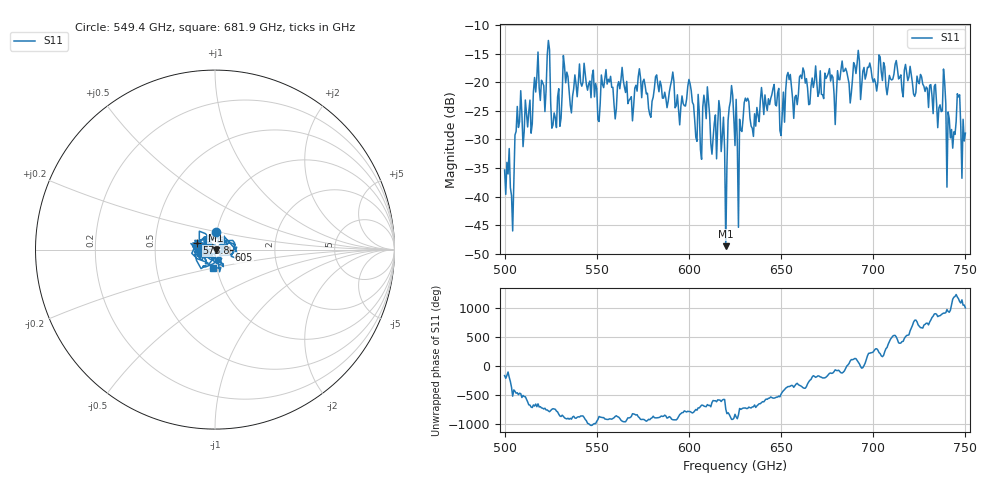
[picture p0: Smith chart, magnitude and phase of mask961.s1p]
!Created with skrf (http://scikit-rf.org).
# GHz S MA R 50.0
!freq magS11 angS11
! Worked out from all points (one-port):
!   401 points, 500 GHz to 750 GHz, reference 50 ohm
!   lowest |S11| = -48.6 dB at 620 GHz (marker M1), VSWR 1.01, Z = 50.3 - j0.151 ohm
!   |S11| at or under -10 dB: start of sweep to end of sweep
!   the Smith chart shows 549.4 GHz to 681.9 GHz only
!   S11 on the Smith chart (normalised r, x): 549.4 GHz: 0.99, +0.19; 573.8 GHz: 0.81, +0.06; 605 GHz: 1.17, -0.00; 681.9 GHz: 0.96, -0.20
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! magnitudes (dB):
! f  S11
! 500 GHz  -35.3
! 504.4 GHz  -46.0
! 507.5 GHz  -27.9
! 513.8 GHz  -23.1
! 516.9 GHz  -21.7
! 523.8 GHz  -12.7
! 526.9 GHz  -25.4
! 531.2 GHz  -21.9
! 549.4 GHz  -20.2
! 562.5 GHz  -21.1
! 568.8 GHz  -22.5
! 573.8 GHz  -19.3
! 593.8 GHz  -22.2
! 600.6 GHz  -20.3
! 605 GHz  -22.1
! 609.4 GHz  -26.4
! 617.5 GHz  -32.1
! 620 GHz  -48.6
! 622.5 GHz  -23.4
! 625 GHz  -31.1
! 627.5 GHz  -26.5
! 631.2 GHz  -23.3
! 635 GHz  -29.5
! 656.2 GHz  -22.9
! 681.9 GHz  -19.6
! 687.5 GHz  -23.6
! 718.8 GHz  -19.7
! 750 GHz  -28.9
